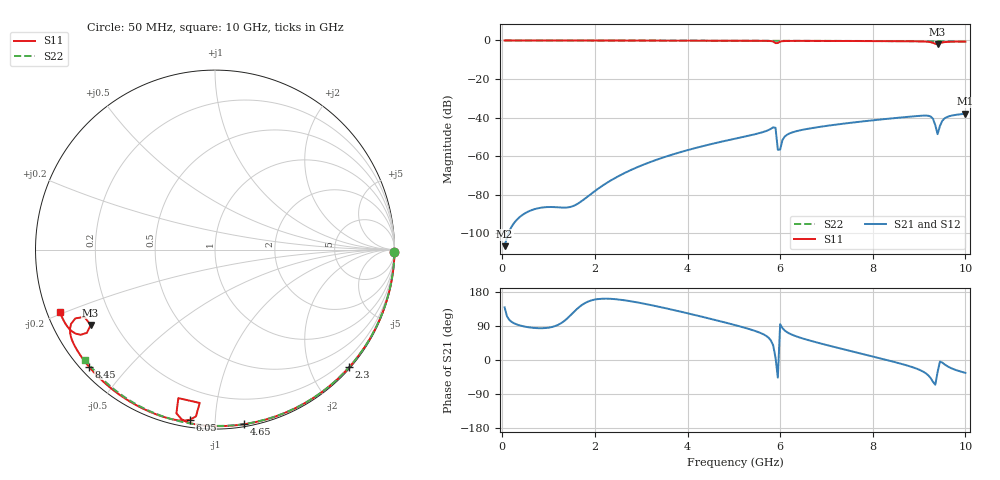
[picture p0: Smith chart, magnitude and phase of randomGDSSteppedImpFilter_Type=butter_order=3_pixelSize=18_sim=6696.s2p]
! freq	dB(S11)	phase(S11)	dB(S12)	phase(S12)
!  dB(S21)	phase(S21)	dB(S22)	phase(S22)
!S-par simulation data
#  GHz  S  DB  R 50
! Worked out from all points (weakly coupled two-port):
!   200 points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, 50 MHz to 10 GHz, reference 50 ohm
!   highest |S21| = -37.98 dB at 10 GHz (marker M1); lowest = -106.6 dB at 50 MHz (marker M2)
!   lowest |S11| = -1.8 dB at 9.4 GHz (marker M3), VSWR 9.55, Z = 5.64 - j13.8 ohm
!   |S11| at or under -10 dB: nowhere
!   |S22| runs from -0.5 to 0.0 dB; largest |S21 - S12| = 0
!   S11 on the Smith chart (normalised r, x): 50 MHz: open; 2.3 GHz: 0.02, -2.66; 4.65 GHz: 0.02, -1.18; 6.05 GHz: 0.04, -0.86; 8.45 GHz: 0.02, -0.39; 10 GHz: 0.04, -0.19
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0.05  -0.00 -0.9  -106.62 138.9  -106.62 138.9  -0.00 -0.8
1.75  -0.04 -31.6  -82.61 147.7  -82.61 147.7  -0.04 -28.0
1.9  -0.04 -34.2  -79.84 156.3  -79.84 156.3  -0.04 -30.3
2.3  -0.05 -41.2  -73.18 161.7  -73.18 161.7  -0.05 -36.5
3.4  -0.08 -60.0  -61.25 140.0  -61.25 140.0  -0.07 -53.1
4.65  -0.12 -80.4  -52.91 104.0  -52.91 104.0  -0.10 -71.2
5.05  -0.13 -86.8  -50.77 91.4  -50.77 91.4  -0.12 -76.8
5.85  -0.56 -103.3  -45.04 38.4  -45.04 38.4  -0.15 -87.7
5.9  -1.39 -103.9  -45.26 6.0  -45.26 6.0  -0.15 -88.3
5.95  -1.32 -95.7  -56.66 -46.5  -56.66 -46.5  -0.16 -89.0
6  -0.58 -96.5  -56.55 94.5  -56.55 94.5  -0.16 -89.6
6.05  -0.36 -98.5  -51.54 84.1  -51.54 84.1  -0.16 -90.3
6.25  -0.23 -103.2  -47.74 67.0  -47.74 67.0  -0.17 -92.9
6.7  -0.23 -110.7  -45.36 49.3  -45.36 49.3  -0.19 -98.8
8.35  -0.36 -135.6  -40.53 -1.5  -40.53 -1.5  -0.31 -119.6
8.45  -0.37 -137.1  -40.29 -4.7  -40.29 -4.7  -0.31 -120.8
9.25  -0.89 -152.7  -39.41 -47.8  -39.41 -47.8  -0.39 -130.6
9.3  -1.24 -153.8  -40.55 -57.5  -40.55 -57.5  -0.40 -131.2
9.4  -1.83 -148.8  -48.58 -31.6  -48.58 -31.6  -0.40 -132.4
9.45  -1.40 -147.0  -44.34 -4.3  -44.34 -4.3  -0.41 -133.0
9.55  -0.85 -148.9  -40.41 -11.5  -40.41 -11.5  -0.42 -134.2
10  -0.61 -158.2  -37.98 -34.0  -37.98 -34.0  -0.47 -139.7
